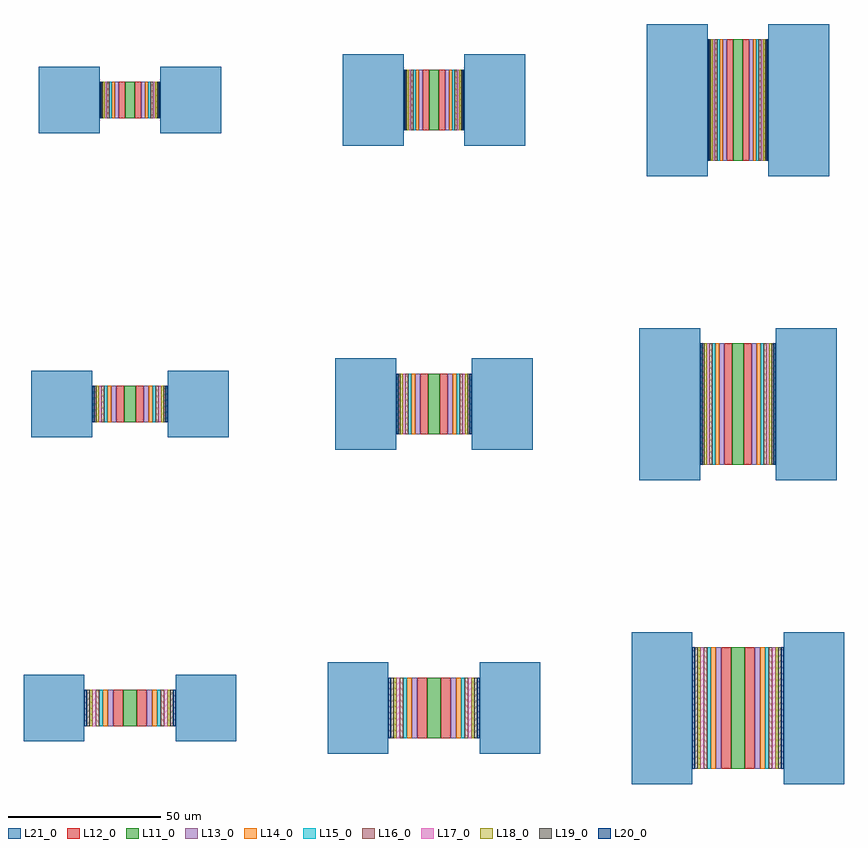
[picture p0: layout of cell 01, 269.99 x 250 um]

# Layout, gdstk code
import gdstk
lib = gdstk.Library(unit=1e-6, precision=1e-09)
def R(c, l, rs):  # rectangles x0, y0, x1, y1
    for r in rs: c.add(gdstk.rectangle(r[:2], r[2:], *l))
L11_0 = (11, 0)
L12_0 = (12, 0)
L13_0 = (13, 0)
L14_0 = (14, 0)
L15_0 = (15, 0)
L16_0 = (16, 0)
L17_0 = (17, 0)
L18_0 = (18, 0)
L19_0 = (19, 0)
L20_0 = (20, 0)
L21_0 = (21, 0)

c_01 = lib.new_cell('01')
R(c_01, L11_0, [(197.764,-20,202.236,20), (97.764,-10,102.236,10), (-2.236,-6,2.236,6), (198.127,80,201.873,120), (98.127,90,101.873,110), (-1.873,94,1.873,106), (198.488,180,201.512,220), (98.488,190,101.512,210), (-1.512,194,1.512,206)])
R(c_01, L12_0, [(194.529,-20,197.764,20), (202.236,-20,205.471,20), (94.529,-10,97.764,10), (102.236,-10,105.471,10), (-5.471,-6,-2.236,6), (2.236,-6,5.471,6), (195.42,80,198.127,120), (201.873,80,204.58,120), (95.42,90,98.127,110), (101.873,90,104.58,110), (-4.58,94,-1.873,106), (1.873,94,4.58,106), (196.307,180,198.488,220), (201.512,180,203.693,220), (96.307,190,98.488,210), (101.512,190,103.693,210), (-3.693,194,-1.512,206), (1.512,194,3.693,206)])
R(c_01, L13_0, [(192.601,-20,194.529,20), (205.471,-20,207.399,20), (92.601,-10,94.529,10), (105.471,-10,107.399,10), (-7.399,-6,-5.471,6), (5.471,-6,7.399,6), (193.81,80,195.42,120), (204.58,80,206.19,120), (93.81,90,95.42,110), (104.58,90,106.19,110), (-6.19,94,-4.58,106), (4.58,94,6.19,106), (195.014,180,196.307,220), (203.693,180,204.986,220), (95.014,190,96.307,210), (103.693,190,104.986,210), (-4.986,194,-3.693,206), (3.693,194,4.986,206)])
R(c_01, L14_0, [(191.088,-20,192.601,20), (207.399,-20,208.912,20), (91.088,-10,92.601,10), (107.399,-10,108.912,10), (-8.912,-6,-7.399,6), (7.399,-6,8.912,6), (192.548,80,193.81,120), (206.19,80,207.452,120), (92.548,90,93.81,110), (106.19,90,107.452,110), (-7.452,94,-6.19,106), (6.19,94,7.452,106), (194.003,180,195.014,220), (204.986,180,205.997,220), (94.003,190,95.014,210), (104.986,190,105.997,210), (-5.997,194,-4.986,206), (4.986,194,5.997,206)])
R(c_01, L15_0, [(189.803,-20,191.088,20), (208.912,-20,210.197,20), (89.803,-10,91.088,10), (108.912,-10,110.197,10), (-10.197,-6,-8.912,6), (8.912,-6,10.197,6), (191.478,80,192.548,120), (207.452,80,208.522,120), (91.478,90,92.548,110), (107.452,90,108.522,110), (-8.522,94,-7.452,106), (7.452,94,8.522,106), (193.149,180,194.003,220), (205.997,180,206.851,220), (93.149,190,94.003,210), (105.997,190,106.851,210), (-6.851,194,-5.997,206), (5.997,194,6.851,206)])
R(c_01, L16_0, [(188.668,-20,189.803,20), (210.197,-20,211.332,20), (88.668,-10,89.803,10), (110.197,-10,111.332,10), (-11.332,-6,-10.197,6), (10.197,-6,11.332,6), (190.535,80,191.478,120), (208.522,80,209.465,120), (90.535,90,91.478,110), (108.522,90,109.465,110), (-9.465,94,-8.522,106), (8.522,94,9.465,106), (192.399,180,193.149,220), (206.851,180,207.601,220), (92.399,190,93.149,210), (106.851,190,107.601,210), (-7.601,194,-6.851,206), (6.851,194,7.601,206)])
R(c_01, L17_0, [(187.642,-20,188.668,20), (211.332,-20,212.358,20), (87.642,-10,88.668,10), (111.332,-10,112.358,10), (-12.358,-6,-11.332,6), (11.332,-6,12.358,6), (189.684,80,190.535,120), (209.465,80,210.316,120), (89.684,90,90.535,110), (109.465,90,110.316,110), (-10.316,94,-9.465,106), (9.465,94,10.316,106), (191.724,180,192.399,220), (207.601,180,208.276,220), (91.724,190,92.399,210), (107.601,190,108.276,210), (-8.276,194,-7.601,206), (7.601,194,8.276,206)])
R(c_01, L18_0, [(186.7,-20,187.642,20), (212.358,-20,213.3,20), (86.7,-10,87.642,10), (112.358,-10,113.3,10), (-13.3,-6,-12.358,6), (12.358,-6,13.3,6), (188.904,80,189.684,120), (210.316,80,211.096,120), (88.904,90,89.684,110), (110.316,90,111.096,110), (-11.096,94,-10.316,106), (10.316,94,11.096,106), (191.107,180,191.724,220), (208.276,180,208.893,220), (91.107,190,91.724,210), (108.276,190,108.893,210), (-8.893,194,-8.276,206), (8.276,194,8.893,206)])
R(c_01, L19_0, [(185.825,-20,186.7,20), (213.3,-20,214.175,20), (85.825,-10,86.7,10), (113.3,-10,114.175,10), (-14.175,-6,-13.3,6), (13.3,-6,14.175,6), (188.18,80,188.904,120), (211.096,80,211.82,120), (88.18,90,88.904,110), (111.096,90,111.82,110), (-11.82,94,-11.096,106), (11.096,94,11.82,106), (190.537,180,191.107,220), (208.893,180,209.463,220), (90.537,190,91.107,210), (108.893,190,109.463,210), (-9.463,194,-8.893,206), (8.893,194,9.463,206)])
R(c_01, L20_0, [(185.005,-20,185.825,20), (214.175,-20,214.995,20), (85.005,-10,85.825,10), (114.175,-10,114.995,10), (-14.995,-6,-14.175,6), (14.175,-6,14.995,6), (187.503,80,188.18,120), (211.82,80,212.497,120), (87.503,90,88.18,110), (111.82,90,112.497,110), (-12.497,94,-11.82,106), (11.82,94,12.497,106), (190.005,180,190.537,220), (209.463,180,209.995,220), (90.005,190,90.537,210), (109.463,190,109.995,210), (-9.995,194,-9.463,206), (9.463,194,9.995,206)])
R(c_01, L21_0, [(165.005,-25,185.005,25), (214.995,-25,234.995,25), (65.005,-15,85.005,15), (114.995,-15,134.995,15), (-34.995,-11,-14.995,11), (14.995,-11,34.995,11), (167.503,75,187.503,125), (212.497,75,232.497,125), (67.503,85,87.503,115), (112.497,85,132.497,115), (-32.497,89,-12.497,111), (12.497,89,32.497,111), (170.005,175,190.005,225), (209.995,175,229.995,225), (70.005,185,90.005,215), (109.995,185,129.995,215), (-29.995,189,-9.995,211), (9.995,189,29.995,211)])

lib.write_gds('01.gds')
